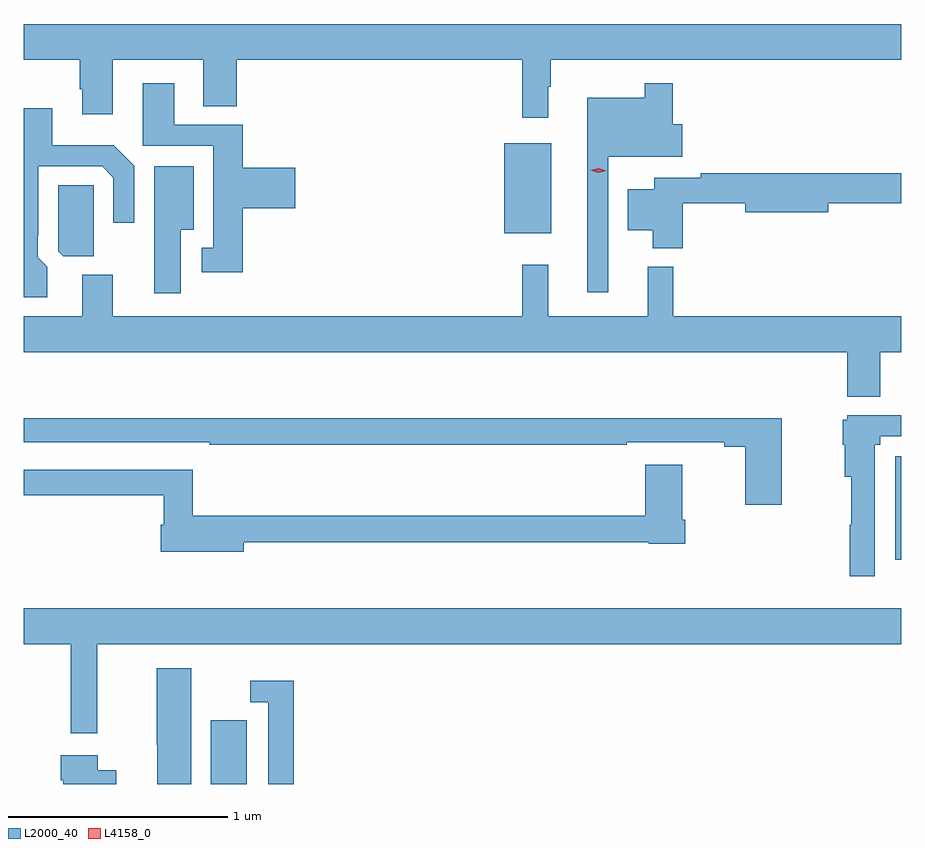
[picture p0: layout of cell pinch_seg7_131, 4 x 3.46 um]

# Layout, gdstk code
import gdstk
lib = gdstk.Library(unit=1e-6, precision=1e-09)
def R(c, l, rs):  # rectangles x0, y0, x1, y1
    for r in rs: c.add(gdstk.rectangle(r[:2], r[2:], *l))
def P(c, l, *ps):  # polygons
    for p in ps: c.add(gdstk.Polygon(p, *l))
L2000_40 = (2000, 40)
L4158_0 = (4158, 0)

pinch_seg7_131 = lib.new_cell('pinch_seg7_131')
R(pinch_seg7_131, L2000_40, [(909.938,1019.96,910.102,1020.25), (913.058,1020.982,913.086,1021.453), (911.276,1022.471,911.491,1022.881)])
P(pinch_seg7_131, L2000_40, [(911.476,1023.137),(911.488,1023.137),(911.488,1023.26),(913.086,1023.26),(913.086,1023.424),(909.086,1023.424),(909.086,1023.26),(909.341,1023.26),(909.341,1023.127),(909.353,1023.127),(909.353,1023.012),(909.493,1023.012),(909.493,1023.26),(909.905,1023.26),(909.905,1023.049),(910.058,1023.049),(910.058,1023.26),(911.359,1023.26),(911.359,1022.997),(911.476,1022.997)],
  [(910.085,1022.585),(910.324,1022.585),(910.324,1022.768),(910.085,1022.768),(910.085,1022.964),(909.772,1022.964),(909.772,1023.154),(909.629,1023.154),(909.629,1022.868),(909.95,1022.868),(909.95,1022.405),(909.897,1022.405),(909.897,1022.292),(910.085,1022.292)],
  [(911.751,1022.819),(912.088,1022.819),(912.088,1022.967),(912.044,1022.967),(912.044,1023.154),(911.916,1023.154),(911.916,1023.088),(911.654,1023.088),(911.654,1022.202),(911.751,1022.202)],
  [(909.193,1022.318),(909.15,1022.361),(909.15,1022.461),(909.153,1022.461),(909.153,1022.775),(909.444,1022.775),(909.495,1022.724),(909.495,1022.517),(909.591,1022.517),(909.591,1022.778),(909.497,1022.872),(909.217,1022.872),(909.217,1023.04),(909.086,1023.04),(909.086,1022.178),(909.193,1022.178)],
  [(909.802,1022.486),(909.862,1022.486),(909.862,1022.776),(909.68,1022.776),(909.68,1022.196),(909.802,1022.196)],
  [(912.089,1022.608),(912.374,1022.608),(912.374,1022.566),(912.754,1022.566),(912.754,1022.608),(913.086,1022.608),(913.086,1022.744),(912.172,1022.744),(912.172,1022.724),(911.96,1022.724),(911.96,1022.671),(911.84,1022.671),(911.84,1022.483),(911.954,1022.483),(911.954,1022.402),(912.089,1022.402)],
  [(909.406,1022.579),(909.405,1022.579),(909.405,1022.69),(909.243,1022.69),(909.243,1022.388),(909.267,1022.365),(909.406,1022.365)],
  [(912.991,1021.928),(913.086,1021.928),(913.086,1022.092),(912.047,1022.092),(912.047,1022.317),(911.93,1022.317),(911.93,1022.092),(911.477,1022.092),(911.477,1022.326),(911.359,1022.326),(911.359,1022.092),(909.493,1022.092),(909.493,1022.28),(909.353,1022.28),(909.353,1022.092),(909.086,1022.092),(909.086,1021.928),(912.839,1021.928),(912.839,1021.726),(912.991,1021.726)],
  [(912.966,1021.506),(912.989,1021.506),(912.989,1021.545),(913.086,1021.545),(913.086,1021.641),(912.84,1021.641),(912.84,1021.62),(912.818,1021.62),(912.818,1021.506),(912.829,1021.506),(912.829,1021.361),(912.858,1021.361),(912.858,1021.142),(912.85,1021.142),(912.85,1020.906),(912.966,1020.906)],
  [(912.54,1021.627),(909.086,1021.627),(909.086,1021.518),(909.934,1021.518),(909.934,1021.506),(911.834,1021.506),(911.834,1021.518),(912.278,1021.518),(912.278,1021.498),(912.374,1021.498),(912.374,1021.233),(912.54,1021.233)],
  [(910.09,1021.062),(911.934,1021.062),(911.934,1021.054),(912.101,1021.054),(912.101,1021.165),(912.088,1021.165),(912.088,1021.414),(911.918,1021.414),(911.918,1021.183),(909.857,1021.183),(909.857,1021.392),(909.086,1021.392),(909.086,1021.276),(909.725,1021.276),(909.725,1021.141),(909.71,1021.141),(909.71,1021.019),(910.09,1021.019)],
  [(909.422,1020.596),(913.086,1020.596),(913.086,1020.76),(909.086,1020.76),(909.086,1020.596),(909.301,1020.596),(909.301,1020.192),(909.422,1020.192)],
  [(909.85,1020.487),(909.692,1020.487),(909.692,1020.138),(909.695,1020.138),(909.695,1019.96),(909.85,1019.96)],
  [(910.316,1020.43),(910.119,1020.43),(910.119,1020.333),(910.2,1020.333),(910.2,1019.96),(910.316,1019.96)],
  [(909.508,1020.022),(909.424,1020.022),(909.424,1020.091),(909.254,1020.091),(909.254,1019.978),(909.266,1019.978),(909.266,1019.96),(909.508,1019.96)])
P(pinch_seg7_131, L4158_0, [(911.705,1022.747),(911.67,1022.758),(911.67,1022.758),(911.67,1022.758),(911.706,1022.767),(911.741,1022.755),(911.741,1022.755),(911.741,1022.755)])

lib.write_gds('pinch_seg7_131.gds')
